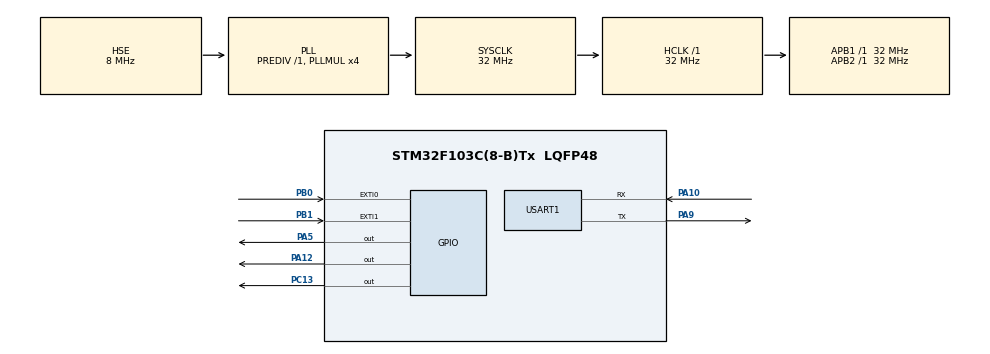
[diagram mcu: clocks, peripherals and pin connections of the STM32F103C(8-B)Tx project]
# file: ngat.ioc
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Mcu.Family=STM32F1
Mcu.Name=STM32F103C(8-B)Tx
Mcu.Package=LQFP48
NVIC.EXTI0_IRQn=true\:0\:0\:false\:false\:true\:true\:true\:true
NVIC.EXTI1_IRQn=true\:1\:0\:true\:false\:true\:true\:true\:true
NVIC.PriorityGroup=NVIC_PRIORITYGROUP_4
NVIC.TIM2_IRQn=true\:0\:0\:false\:false\:true\:true\:true\:true
PA10.Mode=Asynchronous
PA10.Signal=USART1_RX
PA12.PinState=GPIO_PIN_SET
PA12.Signal=GPIO_Output
PA5.GPIO_Speed=GPIO_SPEED_FREQ_HIGH
PA5.Signal=GPIO_Output
PA9.Mode=Asynchronous
PA9.Signal=USART1_TX
PB0.GPIO_ModeDefaultEXTI=GPIO_MODE_IT_FALLING
PB0.GPIO_PuPd=GPIO_PULLUP
PB0.Signal=GPXTI0
PB1.GPIO_ModeDefaultEXTI=GPIO_MODE_IT_FALLING
PB1.GPIO_PuPd=GPIO_PULLUP
PB1.Signal=GPXTI1
PC13-TAMPER-RTC.Signal=GPIO_Output
PD0-OSC_IN.Mode=HSE-External-Oscillator
PD0-OSC_IN.Signal=RCC_OSC_IN
PD1-OSC_OUT.Mode=HSE-External-Oscillator
PD1-OSC_OUT.Signal=RCC_OSC_OUT
ProjectManager.HeapSize=0x200
ProjectManager.StackSize=0x400
ProjectManager.TargetToolchain=STM32CubeIDE
RCC.AHBFreq_Value=32000000
RCC.APB1Freq_Value=32000000
RCC.APB1TimFreq_Value=32000000
RCC.APB2Freq_Value=32000000
RCC.APB2TimFreq_Value=32000000
RCC.HCLKFreq_Value=32000000
RCC.PLLMUL=RCC_PLL_MUL4
RCC.PLLSourceVirtual=RCC_PLLSOURCE_HSE
RCC.SYSCLKFreq_VALUE=32000000
RCC.SYSCLKSource=RCC_SYSCLKSOURCE_PLLCLK
RCC.USBFreq_Value=32000000
TIM2.AutoReloadPreload=TIM_AUTORELOAD_PRELOAD_ENABLE
TIM2.Period=65000
TIM2.Prescaler=31
USART1.VirtualMode=VM_ASYNC
VP_TIM2_VS_ClockSourceINT.Mode=Internal
board=custom

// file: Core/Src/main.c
/* USER CODE BEGIN Header */
/**
  ******************************************************************************
  * @file           : main.c
  * @brief          : Main program body
  ******************************************************************************
  * @attention
  *
  * Copyright (c) 2024 STMicroelectronics.
  * All rights reserved.
  *
  * This software is licensed under terms that can be found in the LICENSE file
  * in the root directory of this software component.
  * If no LICENSE file comes with this software, it is provided AS-IS.
  *
  ******************************************************************************
  */
/* USER CODE END Header */
#include "main.h"

TIM_HandleTypeDef htim2;

UART_HandleTypeDef huart1;

void SystemClock_Config(void);
static void MX_GPIO_Init(void);
static void MX_USART1_UART_Init(void);
static void MX_TIM2_Init(void);

/* USER CODE BEGIN 0 */
#include <string.h>
#include <stdio.h>
int timer =0;
char data_count[50];
uint16_t count_cycle[80];

uint32_t count_cycles_state(bool n) {
    count =0;
    while(HAL_GPIO_ReadPin(GPIOA, GPIO_PIN_5) == n) {
        count++;
	if(count > 50) {
		return count;
	}
    }
    return count;
}
int Read_DHT11(uint32_t* arr,uint8_t* data) {

  GPIO_InitTypeDef GPIO_InitStruct = {0};

  GPIO_InitStruct.Pull = GPIO_PULLUP;
  GPIO_InitStruct.Mode = GPIO_MODE_INPUT ;
  GPIO_InitStruct.Pin = GPIO_PIN_5;
  GPIO_InitStruct.Speed = GPIO_SPEED_FREQ_LOW;
  HAL_GPIO_Init(GPIOA, &GPIO_InitStruct);

  HAL_Delay(1);

  GPIO_InitStruct.Pull = GPIO_NOPULL;
  GPIO_InitStruct.Mode = GPIO_MODE_OUTPUT_PP  ;
  GPIO_InitStruct.Pin = GPIO_PIN_5;
  GPIO_InitStruct.Speed = GPIO_SPEED_FREQ_LOW;
  HAL_GPIO_Init(GPIOA, &GPIO_InitStruct);

  HAL_GPIO_WritePin(GPIOA, GPIO_PIN_5, 0);

  HAL_Delay(20);

  GPIO_InitStruct.Pull = GPIO_PULLUP;
  GPIO_InitStruct.Mode = GPIO_MODE_INPUT ;
  GPIO_InitStruct.Pin = GPIO_PIN_5;
  GPIO_InitStruct.Speed = GPIO_SPEED_FREQ_LOW;
  HAL_GPIO_Init(GPIOA, &GPIO_InitStruct);
  __HAL_TIM_SET_COUNTER(&htim2, 0);
//  HAL_Delay(10);
//  uint32_t counterValue = __HAL_TIM_GET_COUNTER(&htim2);
  do{
	  uint32_t countValue = __HAL_TIM_GET_COUNTER(&htim2);
  }while(countValue > 4);
  while(HAL_GPIO_ReadPin(GPIOA, GPIO_PIN_5) == 0);
  while(HAL_GPIO_ReadPin(GPIOA, GPIO_PIN_5) == 1);

  /*Configure GPIO pins : PB0 PB1 */
  GPIO_InitStruct.Pin = GPIO_PIN_5;
  GPIO_InitStruct.Mode = GPIO_MODE_IT_RISING_FALLING;
  GPIO_InitStruct.Pull = GPIO_PULLUP;
  HAL_GPIO_Init(GPIOA, &GPIO_InitStruct);
  /* EXTI interrupt init*/
  HAL_NVIC_SetPriority(EXTI0_IRQn, 0, 0);
  HAL_NVIC_EnableIRQ(EXTI0_IRQn);
  number_data_dht = 0;
  __HAL_TIM_SET_COUNTER(&htim2, 0);
  while(check_done_data == true);
  for(int i=0; i< 100 ; i+=2) {
	  count_cycles[i] = count_cycles_state(0);
	  count_cycles[i+1] = count_cycles_state(1);
	  arr[i] = count_cycles[i];
	  arr[i+1] = count_cycles[i+1];
  }

  data[1] = 0x00;
  data[2] = 0x00;
  data[3] = 0x00;
  data[4] = 0x00;
  for (int i = 0; i < 40; ++i) {
	  uint32_t lowCycles = arr[2 * i];
	  uint32_t highCycles = arr[2 * i + 1];
	  if ((lowCycles >= CYCLE_MAX) || (highCycles >= CYCLE_MAX)) {
		  HAL_GPIO_TogglePin(GPIOC, GPIO_PIN_13);
	  }
	  data[i / 8] <<= 1;
	  if (highCycles > lowCycles) {
		  data[i / 8] |= 1;
	  }

  }
  uint8_t check_sum = ( data[0]+ data[1]+ data[2]+ data[3] ) & 0xFF;
  if(check_sum == data[4]) {

  }else {
	  unsigned char err[] = "data loi\r\n";
	  HAL_UART_Transmit(&huart1, err, strlen((char *)err), 10);
	  data[1] = 0x00;
	  data[2] = 0x00;
	  data[3] = 0x00;
	  data[4] = 0x00;
	  return -1;
  }

/* USER CODE END 0 */

int main(void)
{

  /* MCU Configuration--------------------------------------------------------*/

  /* Reset of all peripherals, Initializes the Flash interface and the Systick. */
  HAL_Init();

  /* Configure the system clock */
  SystemClock_Config();

  /* Initialize all configured peripherals */
  MX_GPIO_Init();
  MX_USART1_UART_Init();
  MX_TIM2_Init();
  /* USER CODE BEGIN 2 */
  HAL_TIM_Base_Start_IT(&htim2);

  /* USER CODE END 2 */

  /* Infinite loop */
  while (1)
  {

    /* USER CODE BEGIN 3 */
//	  HAL_GPIO_TogglePin(GPIOC, GPIO_PIN_13);
	  __HAL_TIM_SET_COUNTER(&htim2, 0);
	  HAL_Delay(10);
	  uint32_t counterValue = __HAL_TIM_GET_COUNTER(&htim2);
	  sprintf(data_count, "%ld \n", counterValue);
	  HAL_UART_Transmit(&huart1, (unsigned char*)data_count, strlen((char*)data_count), 10);
	  HAL_Delay(5000);
  }
  /* USER CODE END 3 */
}

void SystemClock_Config(void)
{
  RCC_OscInitTypeDef RCC_OscInitStruct = {0};
  RCC_ClkInitTypeDef RCC_ClkInitStruct = {0};

  /** Initializes the RCC Oscillators according to the specified parameters
  * in the RCC_OscInitTypeDef structure.
  */
  RCC_OscInitStruct.OscillatorType = RCC_OSCILLATORTYPE_HSE;
  RCC_OscInitStruct.HSEState = RCC_HSE_ON;
  RCC_OscInitStruct.HSEPredivValue = RCC_HSE_PREDIV_DIV1;
  RCC_OscInitStruct.HSIState = RCC_HSI_ON;
  RCC_OscInitStruct.PLL.PLLState = RCC_PLL_ON;
  RCC_OscInitStruct.PLL.PLLSource = RCC_PLLSOURCE_HSE;
  RCC_OscInitStruct.PLL.PLLMUL = RCC_PLL_MUL4;
  if (HAL_RCC_OscConfig(&RCC_OscInitStruct) != HAL_OK)
  {
    Error_Handler();
  }

  /** Initializes the CPU, AHB and APB buses clocks
  */
  RCC_ClkInitStruct.ClockType = RCC_CLOCKTYPE_HCLK|RCC_CLOCKTYPE_SYSCLK
                              |RCC_CLOCKTYPE_PCLK1|RCC_CLOCKTYPE_PCLK2;
  RCC_ClkInitStruct.SYSCLKSource = RCC_SYSCLKSOURCE_PLLCLK;
  RCC_ClkInitStruct.AHBCLKDivider = RCC_SYSCLK_DIV1;
  RCC_ClkInitStruct.APB1CLKDivider = RCC_HCLK_DIV1;
  RCC_ClkInitStruct.APB2CLKDivider = RCC_HCLK_DIV1;

  if (HAL_RCC_ClockConfig(&RCC_ClkInitStruct, FLASH_LATENCY_1) != HAL_OK)
  {
    Error_Handler();
  }
}

static void MX_TIM2_Init(void)
{

  TIM_ClockConfigTypeDef sClockSourceConfig = {0};
  TIM_MasterConfigTypeDef sMasterConfig = {0};

  htim2.Instance = TIM2;
  htim2.Init.Prescaler = 31;
  htim2.Init.CounterMode = TIM_COUNTERMODE_UP;
  htim2.Init.Period = 65000;
  htim2.Init.ClockDivision = TIM_CLOCKDIVISION_DIV1;
  htim2.Init.AutoReloadPreload = TIM_AUTORELOAD_PRELOAD_ENABLE;
  if (HAL_TIM_Base_Init(&htim2) != HAL_OK)
  {
    Error_Handler();
  }
  sClockSourceConfig.ClockSource = TIM_CLOCKSOURCE_INTERNAL;
  if (HAL_TIM_ConfigClockSource(&htim2, &sClockSourceConfig) != HAL_OK)
  {
    Error_Handler();
  }
  sMasterConfig.MasterOutputTrigger = TIM_TRGO_RESET;
  sMasterConfig.MasterSlaveMode = TIM_MASTERSLAVEMODE_DISABLE;
  if (HAL_TIMEx_MasterConfigSynchronization(&htim2, &sMasterConfig) != HAL_OK)
  {
    Error_Handler();
  }

}

static void MX_USART1_UART_Init(void)
{

  huart1.Instance = USART1;
  huart1.Init.BaudRate = 115200;
  huart1.Init.WordLength = UART_WORDLENGTH_8B;
  huart1.Init.StopBits = UART_STOPBITS_1;
  huart1.Init.Parity = UART_PARITY_NONE;
  huart1.Init.Mode = UART_MODE_TX_RX;
  huart1.Init.HwFlowCtl = UART_HWCONTROL_NONE;
  huart1.Init.OverSampling = UART_OVERSAMPLING_16;
  if (HAL_UART_Init(&huart1) != HAL_OK)
  {
    Error_Handler();
  }

}

static void MX_GPIO_Init(void)
{
  GPIO_InitTypeDef GPIO_InitStruct = {0};

  /* GPIO Ports Clock Enable */
  __HAL_RCC_GPIOC_CLK_ENABLE();
  __HAL_RCC_GPIOD_CLK_ENABLE();
  __HAL_RCC_GPIOA_CLK_ENABLE();
  __HAL_RCC_GPIOB_CLK_ENABLE();

  /*Configure GPIO pin Output Level */
  HAL_GPIO_WritePin(GPIOC, GPIO_PIN_13, GPIO_PIN_RESET);

  /*Configure GPIO pin Output Level */
  HAL_GPIO_WritePin(GPIOA, GPIO_PIN_5, GPIO_PIN_RESET);

  /*Configure GPIO pin Output Level */
  HAL_GPIO_WritePin(GPIOA, GPIO_PIN_12, GPIO_PIN_SET);

  /*Configure GPIO pin : PC13 */
  GPIO_InitStruct.Pin = GPIO_PIN_13;
  GPIO_InitStruct.Mode = GPIO_MODE_OUTPUT_PP;
  GPIO_InitStruct.Pull = GPIO_NOPULL;
  GPIO_InitStruct.Speed = GPIO_SPEED_FREQ_LOW;
  HAL_GPIO_Init(GPIOC, &GPIO_InitStruct);

  /*Configure GPIO pin : PA5 */
  GPIO_InitStruct.Pin = GPIO_PIN_5;
  GPIO_InitStruct.Mode = GPIO_MODE_OUTPUT_PP;
  GPIO_InitStruct.Pull = GPIO_NOPULL;
  GPIO_InitStruct.Speed = GPIO_SPEED_FREQ_HIGH;
  HAL_GPIO_Init(GPIOA, &GPIO_InitStruct);

  /*Configure GPIO pins : PB0 PB1 */
  GPIO_InitStruct.Pin = GPIO_PIN_0|GPIO_PIN_1;
  GPIO_InitStruct.Mode = GPIO_MODE_IT_FALLING;
  GPIO_InitStruct.Pull = GPIO_PULLUP;
  HAL_GPIO_Init(GPIOB, &GPIO_InitStruct);

  /*Configure GPIO pin : PA12 */
  GPIO_InitStruct.Pin = GPIO_PIN_12;
  GPIO_InitStruct.Mode = GPIO_MODE_OUTPUT_PP;
  GPIO_InitStruct.Pull = GPIO_NOPULL;
  GPIO_InitStruct.Speed = GPIO_SPEED_FREQ_LOW;
  HAL_GPIO_Init(GPIOA, &GPIO_InitStruct);

  /* EXTI interrupt init*/
  HAL_NVIC_SetPriority(EXTI0_IRQn, 0, 0);
  HAL_NVIC_EnableIRQ(EXTI0_IRQn);

  HAL_NVIC_SetPriority(EXTI1_IRQn, 1, 0);
  HAL_NVIC_EnableIRQ(EXTI1_IRQn);

}

/* USER CODE BEGIN 4 */
int count =0;
unsigned char data[] = "day la chuoi\n";
unsigned char data0[] = "000000\n";
unsigned char data1[] = "111111\n";
unsigned char data4[] = "444444\n";
unsigned char data5[] = "555555\n";
void HAL_GPIO_EXTI_Callback(uint16_t GPIO_Pin)
{
  /* Prevent unused argument(s) compilation warning */
	if(GPIO_Pin == GPIO_PIN_0)
	{

			counterValue = __HAL_TIM_GET_COUNTER(&htim2);
			count_cycle[number_data_dht] = countValue;
			number_data_dht++;
			__HAL_TIM_SET_COUNTER(&htim2, 0);
			if(number_data_dht >= 80)
			{
				check_done_data = true;
				HAL_NVIC_DisableIRQ(EXTI0_IRQn);
			}

	}

  /* NOTE: This function Should not be modified, when the callback is needed,
           the HAL_GPIO_EXTI_Callback could be implemented in the user file
   */
}

/*************************************************************/
void TIM2_IRQHandler(void)
{
  /* USER CODE BEGIN TIM2_IRQn 0 */
//	unsigned char data_timer[] = "ngat timer\n";
//	HAL_UART_Transmit(&huart1, data_timer, strlen((char*)data_timer), 10);
  /* USER CODE END TIM2_IRQn 0 */
  HAL_TIM_IRQHandler(&htim2);
  /* USER CODE BEGIN TIM2_IRQn 1 */

  /* USER CODE END TIM2_IRQn 1 */
}
/* USER CODE END 4 */

void Error_Handler(void)
{
  __disable_irq();
  while (1)
  {
  }
}
